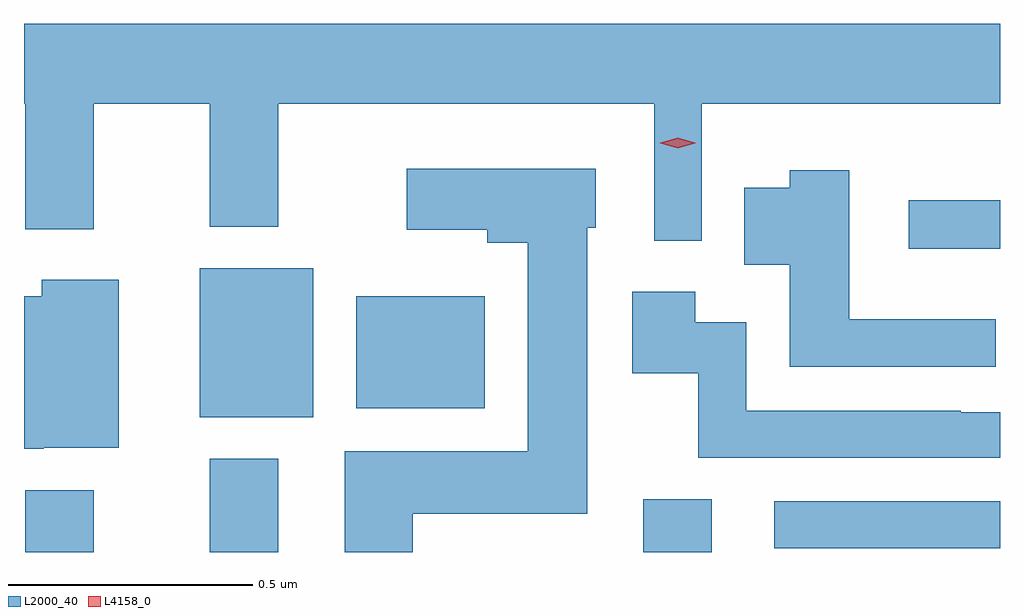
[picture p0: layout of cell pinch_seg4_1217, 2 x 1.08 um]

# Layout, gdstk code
import gdstk
lib = gdstk.Library(unit=1e-6, precision=1e-09)
def R(c, l, rs):  # rectangles x0, y0, x1, y1
    for r in rs: c.add(gdstk.rectangle(r[:2], r[2:], *l))
def P(c, l, *ps):  # polygons
    for p in ps: c.add(gdstk.Polygon(p, *l))
L2000_40 = (2000, 40)
L4158_0 = (4158, 0)

pinch_seg4_1217 = lib.new_cell('pinch_seg4_1217')
R(pinch_seg4_1217, L2000_40, [(637.193,757.273,637.333,757.4), (637.571,757.273,637.711,757.465), (638.459,757.273,638.599,757.382), (638.727,757.281,639.19,757.377), (637.55,757.55,637.783,757.855), (637.871,757.568,638.134,757.798), (639.003,757.895,639.19,757.994)])
P(pinch_seg4_1217, L2000_40, [(638.579,758.192),(639.19,758.192),(639.19,758.356),(637.19,758.356),(637.19,758.192),(637.193,758.192),(637.193,757.935),(637.333,757.935),(637.333,758.192),(637.571,758.192),(637.571,757.94),(637.711,757.94),(637.711,758.192),(638.481,758.192),(638.481,757.911),(638.579,757.911)],
  [(637.987,757.352),(638.344,757.352),(638.344,757.938),(638.362,757.938),(638.362,758.059),(637.974,758.059),(637.974,757.934),(638.139,757.934),(638.139,757.907),(638.222,757.907),(638.222,757.48),(637.847,757.48),(637.847,757.273),(637.987,757.273)],
  [(639.181,757.75),(638.881,757.75),(638.881,758.056),(638.759,758.056),(638.759,758.02),(638.666,758.02),(638.666,757.862),(638.759,757.862),(638.759,757.653),(639.181,757.653)],
  [(637.23,757.487),(637.384,757.487),(637.384,757.831),(637.226,757.831),(637.226,757.798),(637.19,757.798),(637.19,757.485),(637.23,757.485)],
  [(639.19,757.56),(639.11,757.56),(639.11,757.563),(638.67,757.563),(638.67,757.744),(638.566,757.744),(638.566,757.807),(638.436,757.807),(638.436,757.64),(638.572,757.64),(638.572,757.467),(639.19,757.467)])
P(pinch_seg4_1217, L4158_0, [(638.53,758.101),(638.494,758.111),(638.494,758.112),(638.494,758.112),(638.53,758.122),(638.565,758.112),(638.565,758.112),(638.565,758.111)])

lib.write_gds('pinch_seg4_1217.gds')
